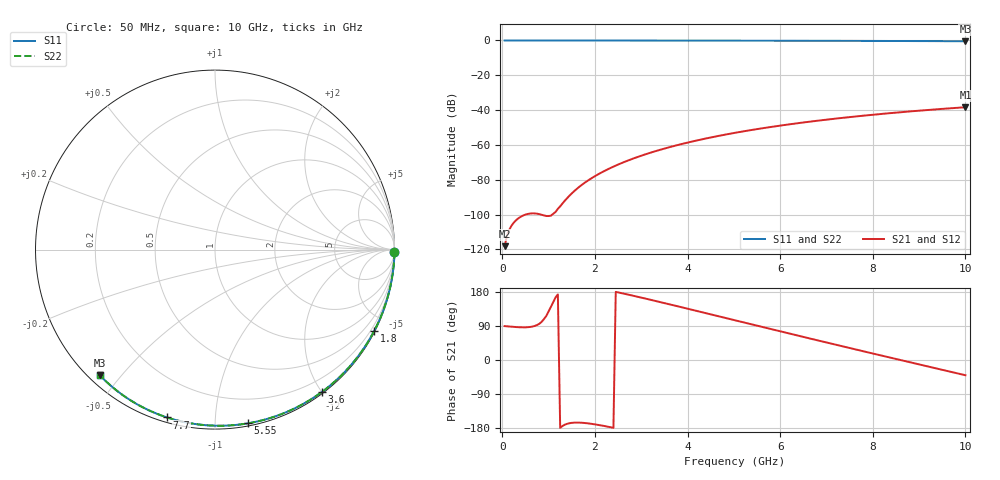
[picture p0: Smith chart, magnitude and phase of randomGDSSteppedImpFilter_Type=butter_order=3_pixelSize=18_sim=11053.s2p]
! freq	dB(S11)	phase(S11)	dB(S12)	phase(S12)
!  dB(S21)	phase(S21)	dB(S22)	phase(S22)
!S-par simulation data
#  GHz  S  DB  R 50
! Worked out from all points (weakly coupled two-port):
!   200 points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, 50 MHz to 10 GHz, reference 50 ohm
!   highest |S21| = -38.34 dB at 10 GHz (marker M1); lowest = -118.1 dB at 50 MHz (marker M2)
!   lowest |S11| = -0.4 dB at 10 GHz (marker M3), VSWR 38.79, Z = 1.54 - j22 ohm
!   |S11| at or under -10 dB: nowhere
!   |S22| runs from -0.4 to 0.0 dB; largest |S21 - S12| = 0
!   S11 on the Smith chart (normalised r, x): 50 MHz: open; 1.8 GHz: 0.04, -4.14; 3.6 GHz: 0.02, -2.00; 5.55 GHz: 0.02, -1.21; 7.7 GHz: 0.02, -0.75; 10 GHz: 0.03, -0.44
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0.05  -0.00 -0.8  -118.14 89.5  -118.14 89.5  -0.00 -0.8
0.9  -0.02 -13.7  -100.52 107.9  -100.52 107.9  -0.02 -13.7
1.75  -0.03 -26.4  -82.28 -165.9  -82.28 -165.9  -0.03 -26.4
1.8  -0.03 -27.2  -81.33 -166.5  -81.33 -166.5  -0.03 -27.2
1.85  -0.04 -27.9  -80.43 -167.2  -80.43 -167.2  -0.04 -27.9
1.9  -0.04 -28.7  -79.57 -168.0  -79.57 -168.0  -0.04 -28.6
2.05  -0.04 -30.9  -77.17 -170.8  -77.17 -170.8  -0.04 -30.9
2.25  -0.04 -33.8  -74.34 -175.3  -74.34 -175.3  -0.04 -33.8
2.45  -0.05 -36.7  -71.85 179.7  -71.85 179.7  -0.05 -36.7
2.65  -0.05 -39.6  -69.61 174.4  -69.61 174.4  -0.05 -39.6
3  -0.06 -44.6  -66.19 164.7  -66.19 164.7  -0.06 -44.6
3.4  -0.07 -50.3  -62.85 153.2  -62.85 153.2  -0.07 -50.3
3.6  -0.07 -53.1  -61.36 147.3  -61.36 147.3  -0.07 -53.1
4.3  -0.09 -62.8  -56.85 126.5  -56.85 126.5  -0.09 -62.8
5.05  -0.11 -72.8  -52.92 104.1  -52.92 104.1  -0.11 -72.8
5.55  -0.13 -79.3  -50.70 89.1  -50.70 89.1  -0.13 -79.3
6.1  -0.15 -86.3  -48.53 72.8  -48.53 72.8  -0.15 -86.3
6.7  -0.18 -93.8  -46.43 55.0  -46.43 55.0  -0.18 -93.8
7.7  -0.24 -105.9  -43.46 25.8  -43.46 25.8  -0.24 -105.9
8.35  -0.29 -113.6  -41.80 7.0  -41.80 7.0  -0.29 -113.6
9.15  -0.36 -122.8  -40.00 -15.9  -40.00 -15.9  -0.36 -122.8
10  -0.45 -132.5  -38.34 -40.2  -38.34 -40.2  -0.45 -132.5
